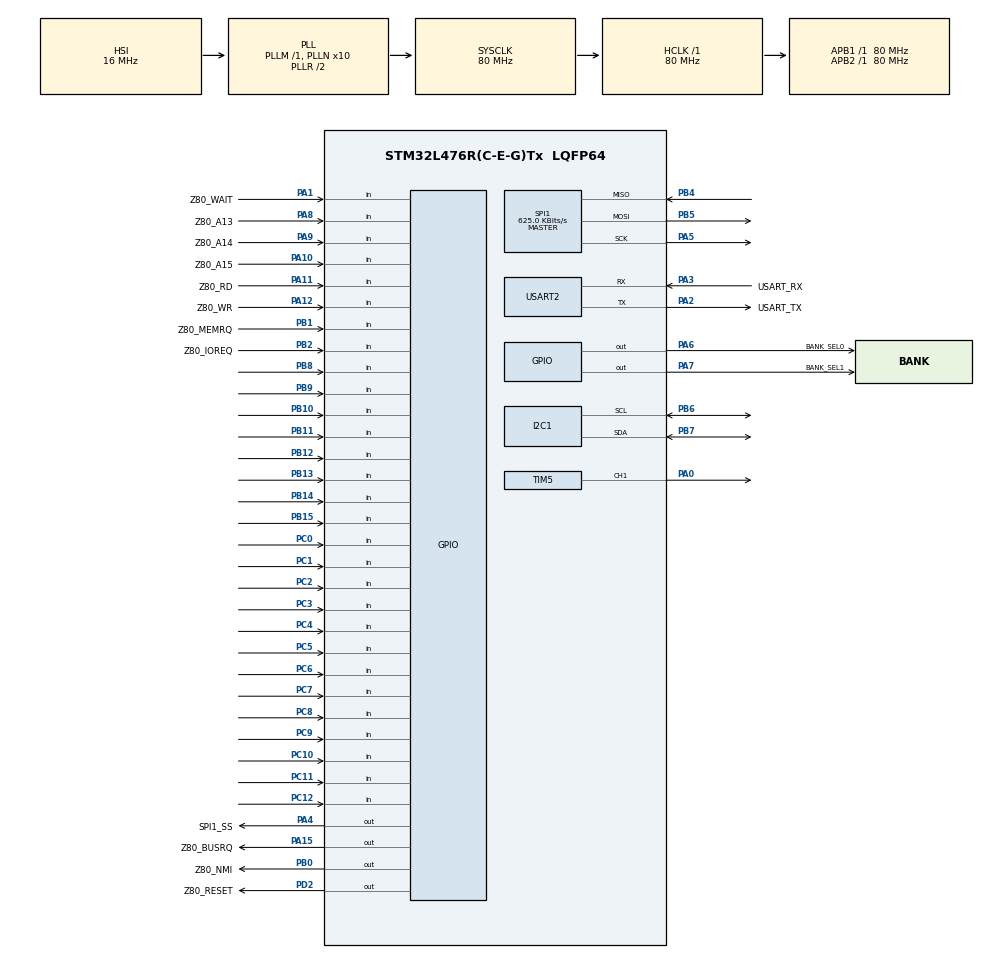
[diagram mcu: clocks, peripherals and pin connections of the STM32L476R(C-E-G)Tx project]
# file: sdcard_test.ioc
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I2C1.Timing=0x10909CEC
Mcu.Family=STM32L4
Mcu.Name=STM32L476R(C-E-G)Tx
Mcu.Package=LQFP64
NVIC.PriorityGroup=NVIC_PRIORITYGROUP_4
PA0.Signal=S_TIM5_CH1
PA1.GPIO_Label=Z80_WAIT
PA1.GPIO_PuPd=GPIO_PULLUP
PA1.Signal=GPIO_Input
PA10.GPIO_Label=Z80_A15
PA10.GPIO_PuPd=GPIO_NOPULL
PA10.Signal=GPIO_Input
PA11.GPIO_Label=Z80_RD
PA11.GPIO_PuPd=GPIO_PULLUP
PA11.Signal=GPIO_Input
PA12.GPIO_Label=Z80_WR
PA12.GPIO_PuPd=GPIO_PULLUP
PA12.Signal=GPIO_Input
PA13\ (JTMS-SWDIO).GPIO_Label=TMS
PA13\ (JTMS-SWDIO).Mode=Serial_Wire
PA13\ (JTMS-SWDIO).Signal=SYS_JTMS-SWDIO
PA14\ (JTCK-SWCLK).GPIO_Label=TCK
PA14\ (JTCK-SWCLK).Mode=Serial_Wire
PA14\ (JTCK-SWCLK).Signal=SYS_JTCK-SWCLK
PA15\ (JTDI).GPIO_Label=Z80_BUSRQ
PA15\ (JTDI).Signal=GPIO_Output
PA2.GPIO_Label=USART_TX
PA2.GPIO_Mode=GPIO_MODE_AF_PP
PA2.GPIO_PuPd=GPIO_NOPULL
PA2.GPIO_Speed=GPIO_SPEED_FREQ_VERY_HIGH
PA2.Mode=Asynchronous
PA2.Signal=USART2_TX
PA3.GPIO_Label=USART_RX
PA3.GPIO_Mode=GPIO_MODE_AF_PP
PA3.GPIO_PuPd=GPIO_NOPULL
PA3.GPIO_Speed=GPIO_SPEED_FREQ_VERY_HIGH
PA3.Mode=Asynchronous
PA3.Signal=USART2_RX
PA4.GPIO_Label=SPI1_SS
PA4.PinState=GPIO_PIN_SET
PA4.Signal=GPIO_Output
PA5.Mode=Full_Duplex_Master
PA5.Signal=SPI1_SCK
PA6.GPIO_Label=BANK_SEL0
PA6.Signal=GPIO_Output
PA7.GPIO_Label=BANK_SEL1
PA7.Signal=GPIO_Output
PA8.GPIO_Label=Z80_A13
PA8.Signal=GPIO_Input
PA9.GPIO_Label=Z80_A14
PA9.Signal=GPIO_Input
PB0.GPIO_Label=Z80_NMI
PB0.Signal=GPIO_Output
PB1.GPIO_Label=Z80_MEMRQ
PB1.GPIO_PuPd=GPIO_PULLUP
PB1.Signal=GPIO_Input
PB10.Signal=GPIO_Input
PB11.Signal=GPIO_Input
PB12.Signal=GPIO_Input
PB13.Signal=GPIO_Input
PB14.Signal=GPIO_Input
PB15.Signal=GPIO_Input
PB2.GPIO_Label=Z80_IOREQ
PB2.GPIO_PuPd=GPIO_PULLUP
PB2.Signal=GPIO_Input
PB4\ (NJTRST).Mode=Full_Duplex_Master
PB4\ (NJTRST).Signal=SPI1_MISO
PB5.Mode=Full_Duplex_Master
PB5.Signal=SPI1_MOSI
PB6.Mode=I2C
PB6.Signal=I2C1_SCL
PB7.Mode=I2C
PB7.Signal=I2C1_SDA
PB8.Signal=GPIO_Input
PB9.Signal=GPIO_Input
PC0.Signal=GPIO_Input
PC1.Signal=GPIO_Input
PC10.Signal=GPIO_Input
PC11.Signal=GPIO_Input
PC12.Signal=GPIO_Input
PC2.Signal=GPIO_Input
PC3.Signal=GPIO_Input
PC4.Signal=GPIO_Input
PC5.Signal=GPIO_Input
PC6.Signal=GPIO_Input
PC7.Signal=GPIO_Input
PC8.Signal=GPIO_Input
PC9.Signal=GPIO_Input
PD2.GPIO_Label=Z80_RESET
PD2.Signal=GPIO_Output
PH0-OSC_IN\ (PH0).Signal=RCC_OSC_IN
PH1-OSC_OUT\ (PH1).Signal=RCC_OSC_OUT
ProjectManager.HeapSize=0x200
ProjectManager.StackSize=0x400
ProjectManager.TargetToolchain=STM32CubeIDE
RCC.ADCFreq_Value=64000000
RCC.AHBFreq_Value=80000000
RCC.APB1Freq_Value=80000000
RCC.APB1TimFreq_Value=80000000
RCC.APB2Freq_Value=80000000
RCC.APB2TimFreq_Value=80000000
RCC.CortexFreq_Value=80000000
RCC.HCLKFreq_Value=80000000
RCC.HSE_VALUE=8000000
RCC.HSI_VALUE=16000000
RCC.LSE_VALUE=32768
RCC.MSI_VALUE=4000000
RCC.PLLN=10
RCC.PLLSourceVirtual=RCC_PLLSOURCE_HSI
RCC.PREFETCH_ENABLE=1
RCC.SYSCLKFreq_VALUE=80000000
RCC.SYSCLKSource=RCC_SYSCLKSOURCE_PLLCLK
RCC.USBFreq_Value=64000000
RCC.VCOOutputFreq_Value=160000000
SH.S_TIM5_CH1.0=TIM5_CH1,PWM Generation1 CH1
SPI1.BaudRatePrescaler=SPI_BAUDRATEPRESCALER_128
SPI1.CalculateBaudRate=625.0 KBits/s
SPI1.DataSize=SPI_DATASIZE_8BIT
SPI1.Direction=SPI_DIRECTION_2LINES
SPI1.Mode=SPI_MODE_MASTER
SPI1.VirtualType=VM_MASTER
TIM1.Prescaler=10 - 1
TIM5.AutoReloadPreload=TIM_AUTORELOAD_PRELOAD_ENABLE
TIM5.Channel-PWM\ Generation1\ CH1=TIM_CHANNEL_1
TIM5.Period=1
TIM5.Prescaler=9
TIM5.Pulse-PWM\ Generation1\ CH1=1
USART2.VirtualMode-Asynchronous=VM_ASYNC
VP_FATFS_VS_Generic.Mode=User_defined
VP_TIM1_VS_ClockSourceINT.Mode=Internal
VP_TIM5_VS_ClockSourceINT.Mode=Internal
board=NUCLEO-L476RG

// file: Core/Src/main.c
/* USER CODE BEGIN Header */
/**
  ******************************************************************************
  * @file           : main.c
  * @brief          : Main program body
  ******************************************************************************
  * @attention
  *
  * Copyright (c) 2024 STMicroelectronics.
  * All rights reserved.
  *
  * This software is licensed under terms that can be found in the LICENSE file
  * in the root directory of this software component.
  * If no LICENSE file comes with this software, it is provided AS-IS.
  *
  ******************************************************************************
  */
/* USER CODE END Header */
#include "main.h"
#include "fatfs.h"

/* USER CODE BEGIN Includes */
#include <stdio.h>
#include <string.h>

/* USER CODE END Includes */

/* USER CODE BEGIN PD */
#define DS1307_ADDR (0x68 << 1)

/* USER CODE END PD */

I2C_HandleTypeDef hi2c1;

SPI_HandleTypeDef hspi1;

TIM_HandleTypeDef htim1;
TIM_HandleTypeDef htim5;

UART_HandleTypeDef huart2;

void SystemClock_Config(void);
static void MX_GPIO_Init(void);
static void MX_USART2_UART_Init(void);
static void MX_TIM5_Init(void);
static void MX_TIM1_Init(void);
static void MX_I2C1_Init(void);
static void MX_SPI1_Init(void);

int main(void)
{

  /* MCU Configuration--------------------------------------------------------*/

  /* Reset of all peripherals, Initializes the Flash interface and the Systick. */
  HAL_Init();

  /* Configure the system clock */
  SystemClock_Config();

  /* Initialize all configured peripherals */
  MX_GPIO_Init();
  MX_USART2_UART_Init();
  MX_TIM5_Init();
  MX_TIM1_Init();
  MX_I2C1_Init();
  MX_SPI1_Init();
  MX_FATFS_Init();
  /* USER CODE BEGIN 2 */
  HAL_TIM_Base_Start(&htim1);

  printf("\r\n~ SD card demo by kiwih ~\r\n\r\n");

  HAL_Delay(1000); //a short delay is important to let the SD card settle

  //some variables for FatFs
  FATFS FatFs;	//Fatfs handle
  FIL fil;		//File handle
  FRESULT fres; //Result after operations

  //Open the file system
  fres = f_mount(&FatFs, "", 1); //1=mount now
  if (fres != FR_OK) {
    printf("f_mount error (%i)\r\n", fres);
    while(1);
  }

  //Let's get some statistics from the SD card
  DWORD free_clusters, free_sectors, total_sectors;

  FATFS* getFreeFs;

  fres = f_getfree("", &free_clusters, &getFreeFs);
  if (fres != FR_OK) {
    printf("f_getfree error (%i)\r\n", fres);
    while(1);
  }

  //Formula comes from ChaN's documentation
  total_sectors = (getFreeFs->n_fatent - 2) * getFreeFs->csize;
  free_sectors = free_clusters * getFreeFs->csize;

  printf("SD card stats:\r\n%10lu KiB total drive space.\r\n%10lu KiB available.\r\n",
           total_sectors / 2, free_sectors / 2);

  //Now let's try to open file "test.txt"
  fres = f_open(&fil, "test.txt", FA_READ);
  if (fres != FR_OK) {
    printf("f_open error (%i)\r\n", fres);
    while(1);
  }
  printf("I was able to open 'test.txt' for reading!\r\n");

  //Read 30 bytes from "test.txt" on the SD card
  BYTE readBuf[30];

  //We can either use f_read OR f_gets to get data out of files
  //f_gets is a wrapper on f_read that does some string formatting for us
  TCHAR* rres = f_gets((TCHAR*)readBuf, 30, &fil);
  if(rres != 0) {
    printf("Read string from 'test.txt' contents: %s\r\n", readBuf);
  } else {
    printf("f_gets error (%i)\r\n", fres);
  }

  //Be a tidy kiwi - don't forget to close your file!
  f_close(&fil);

  //Now let's try and write a file "write.txt"
  fres = f_open(&fil, "write.txt", FA_WRITE | FA_OPEN_ALWAYS | FA_CREATE_ALWAYS);
  if(fres == FR_OK) {
    printf("I was able to open 'write.txt' for writing\r\n");
  } else {
    printf("f_open error (%i)\r\n", fres);
  }

  //Copy in a string
  memcpy((char*)readBuf, "a new file is made!", 19);
  UINT bytesWrote;
  fres = f_write(&fil, readBuf, 19, &bytesWrote);
  if(fres == FR_OK) {
    printf("Wrote %i bytes to 'write.txt'!\r\n", bytesWrote);
  } else {
    printf("f_write error (%i)\r\n", fres);
  }

  //Be a tidy kiwi - don't forget to close your file!
  f_close(&fil);

  //We're done, so de-mount the drive
  f_mount(NULL, "", 0);

  /* USER CODE END 2 */

  /* Infinite loop */
  while (1)
  {

  }
}

void SystemClock_Config(void)
{
  RCC_OscInitTypeDef RCC_OscInitStruct = {0};
  RCC_ClkInitTypeDef RCC_ClkInitStruct = {0};

  /** Configure the main internal regulator output voltage
  */
  if (HAL_PWREx_ControlVoltageScaling(PWR_REGULATOR_VOLTAGE_SCALE1) != HAL_OK)
  {
    Error_Handler();
  }

  /** Initializes the RCC Oscillators according to the specified parameters
  * in the RCC_OscInitTypeDef structure.
  */
  RCC_OscInitStruct.OscillatorType = RCC_OSCILLATORTYPE_HSI;
  RCC_OscInitStruct.HSIState = RCC_HSI_ON;
  RCC_OscInitStruct.HSICalibrationValue = RCC_HSICALIBRATION_DEFAULT;
  RCC_OscInitStruct.PLL.PLLState = RCC_PLL_ON;
  RCC_OscInitStruct.PLL.PLLSource = RCC_PLLSOURCE_HSI;
  RCC_OscInitStruct.PLL.PLLM = 1;
  RCC_OscInitStruct.PLL.PLLN = 10;
  RCC_OscInitStruct.PLL.PLLP = RCC_PLLP_DIV7;
  RCC_OscInitStruct.PLL.PLLQ = RCC_PLLQ_DIV2;
  RCC_OscInitStruct.PLL.PLLR = RCC_PLLR_DIV2;
  if (HAL_RCC_OscConfig(&RCC_OscInitStruct) != HAL_OK)
  {
    Error_Handler();
  }

  /** Initializes the CPU, AHB and APB buses clocks
  */
  RCC_ClkInitStruct.ClockType = RCC_CLOCKTYPE_HCLK|RCC_CLOCKTYPE_SYSCLK
                              |RCC_CLOCKTYPE_PCLK1|RCC_CLOCKTYPE_PCLK2;
  RCC_ClkInitStruct.SYSCLKSource = RCC_SYSCLKSOURCE_PLLCLK;
  RCC_ClkInitStruct.AHBCLKDivider = RCC_SYSCLK_DIV1;
  RCC_ClkInitStruct.APB1CLKDivider = RCC_HCLK_DIV1;
  RCC_ClkInitStruct.APB2CLKDivider = RCC_HCLK_DIV1;

  if (HAL_RCC_ClockConfig(&RCC_ClkInitStruct, FLASH_LATENCY_4) != HAL_OK)
  {
    Error_Handler();
  }
}

static void MX_I2C1_Init(void)
{

  hi2c1.Instance = I2C1;
  hi2c1.Init.Timing = 0x10909CEC;
  hi2c1.Init.OwnAddress1 = 0;
  hi2c1.Init.AddressingMode = I2C_ADDRESSINGMODE_7BIT;
  hi2c1.Init.DualAddressMode = I2C_DUALADDRESS_DISABLE;
  hi2c1.Init.OwnAddress2 = 0;
  hi2c1.Init.OwnAddress2Masks = I2C_OA2_NOMASK;
  hi2c1.Init.GeneralCallMode = I2C_GENERALCALL_DISABLE;
  hi2c1.Init.NoStretchMode = I2C_NOSTRETCH_DISABLE;
  if (HAL_I2C_Init(&hi2c1) != HAL_OK)
  {
    Error_Handler();
  }

  /** Configure Analogue filter
  */
  if (HAL_I2CEx_ConfigAnalogFilter(&hi2c1, I2C_ANALOGFILTER_ENABLE) != HAL_OK)
  {
    Error_Handler();
  }

  /** Configure Digital filter
  */
  if (HAL_I2CEx_ConfigDigitalFilter(&hi2c1, 0) != HAL_OK)
  {
    Error_Handler();
  }

}

static void MX_SPI1_Init(void)
{

  /* SPI1 parameter configuration*/
  hspi1.Instance = SPI1;
  hspi1.Init.Mode = SPI_MODE_MASTER;
  hspi1.Init.Direction = SPI_DIRECTION_2LINES;
  hspi1.Init.DataSize = SPI_DATASIZE_8BIT;
  hspi1.Init.CLKPolarity = SPI_POLARITY_LOW;
  hspi1.Init.CLKPhase = SPI_PHASE_1EDGE;
  hspi1.Init.NSS = SPI_NSS_SOFT;
  hspi1.Init.BaudRatePrescaler = SPI_BAUDRATEPRESCALER_128;
  hspi1.Init.FirstBit = SPI_FIRSTBIT_MSB;
  hspi1.Init.TIMode = SPI_TIMODE_DISABLE;
  hspi1.Init.CRCCalculation = SPI_CRCCALCULATION_DISABLE;
  hspi1.Init.CRCPolynomial = 7;
  hspi1.Init.CRCLength = SPI_CRC_LENGTH_DATASIZE;
  hspi1.Init.NSSPMode = SPI_NSS_PULSE_ENABLE;
  if (HAL_SPI_Init(&hspi1) != HAL_OK)
  {
    Error_Handler();
  }

}

static void MX_TIM1_Init(void)
{

  TIM_ClockConfigTypeDef sClockSourceConfig = {0};
  TIM_MasterConfigTypeDef sMasterConfig = {0};

  htim1.Instance = TIM1;
  htim1.Init.Prescaler = 10 - 1;
  htim1.Init.CounterMode = TIM_COUNTERMODE_UP;
  htim1.Init.Period = 65535;
  htim1.Init.ClockDivision = TIM_CLOCKDIVISION_DIV1;
  htim1.Init.RepetitionCounter = 0;
  htim1.Init.AutoReloadPreload = TIM_AUTORELOAD_PRELOAD_DISABLE;
  if (HAL_TIM_Base_Init(&htim1) != HAL_OK)
  {
    Error_Handler();
  }
  sClockSourceConfig.ClockSource = TIM_CLOCKSOURCE_INTERNAL;
  if (HAL_TIM_ConfigClockSource(&htim1, &sClockSourceConfig) != HAL_OK)
  {
    Error_Handler();
  }
  sMasterConfig.MasterOutputTrigger = TIM_TRGO_RESET;
  sMasterConfig.MasterOutputTrigger2 = TIM_TRGO2_RESET;
  sMasterConfig.MasterSlaveMode = TIM_MASTERSLAVEMODE_DISABLE;
  if (HAL_TIMEx_MasterConfigSynchronization(&htim1, &sMasterConfig) != HAL_OK)
  {
    Error_Handler();
  }

}

static void MX_TIM5_Init(void)
{

  TIM_ClockConfigTypeDef sClockSourceConfig = {0};
  TIM_MasterConfigTypeDef sMasterConfig = {0};
  TIM_OC_InitTypeDef sConfigOC = {0};

  htim5.Instance = TIM5;
  htim5.Init.Prescaler = 9;
  htim5.Init.CounterMode = TIM_COUNTERMODE_UP;
  htim5.Init.Period = 1;
  htim5.Init.ClockDivision = TIM_CLOCKDIVISION_DIV1;
  htim5.Init.AutoReloadPreload = TIM_AUTORELOAD_PRELOAD_ENABLE;
  if (HAL_TIM_Base_Init(&htim5) != HAL_OK)
  {
    Error_Handler();
  }
  sClockSourceConfig.ClockSource = TIM_CLOCKSOURCE_INTERNAL;
  if (HAL_TIM_ConfigClockSource(&htim5, &sClockSourceConfig) != HAL_OK)
  {
    Error_Handler();
  }
  if (HAL_TIM_PWM_Init(&htim5) != HAL_OK)
  {
    Error_Handler();
  }
  sMasterConfig.MasterOutputTrigger = TIM_TRGO_RESET;
  sMasterConfig.MasterSlaveMode = TIM_MASTERSLAVEMODE_DISABLE;
  if (HAL_TIMEx_MasterConfigSynchronization(&htim5, &sMasterConfig) != HAL_OK)
  {
    Error_Handler();
  }
  sConfigOC.OCMode = TIM_OCMODE_PWM1;
  sConfigOC.Pulse = 1;
  sConfigOC.OCPolarity = TIM_OCPOLARITY_HIGH;
  sConfigOC.OCFastMode = TIM_OCFAST_DISABLE;
  if (HAL_TIM_PWM_ConfigChannel(&htim5, &sConfigOC, TIM_CHANNEL_1) != HAL_OK)
  {
    Error_Handler();
  }
  HAL_TIM_MspPostInit(&htim5);

}

static void MX_USART2_UART_Init(void)
{

  huart2.Instance = USART2;
  huart2.Init.BaudRate = 115200;
  huart2.Init.WordLength = UART_WORDLENGTH_8B;
  huart2.Init.StopBits = UART_STOPBITS_1;
  huart2.Init.Parity = UART_PARITY_NONE;
  huart2.Init.Mode = UART_MODE_TX_RX;
  huart2.Init.HwFlowCtl = UART_HWCONTROL_NONE;
  huart2.Init.OverSampling = UART_OVERSAMPLING_16;
  huart2.Init.OneBitSampling = UART_ONE_BIT_SAMPLE_DISABLE;
  huart2.AdvancedInit.AdvFeatureInit = UART_ADVFEATURE_NO_INIT;
  if (HAL_UART_Init(&huart2) != HAL_OK)
  {
    Error_Handler();
  }

}

static void MX_GPIO_Init(void)
{
  GPIO_InitTypeDef GPIO_InitStruct = {0};

  /* GPIO Ports Clock Enable */
  __HAL_RCC_GPIOH_CLK_ENABLE();
  __HAL_RCC_GPIOC_CLK_ENABLE();
  __HAL_RCC_GPIOA_CLK_ENABLE();
  __HAL_RCC_GPIOB_CLK_ENABLE();
  __HAL_RCC_GPIOD_CLK_ENABLE();

  /*Configure GPIO pin Output Level */
  HAL_GPIO_WritePin(SPI1_SS_GPIO_Port, SPI1_SS_Pin, GPIO_PIN_SET);

  /*Configure GPIO pin Output Level */
  HAL_GPIO_WritePin(GPIOA, BANK_SEL0_Pin|BANK_SEL1_Pin|Z80_BUSRQ_Pin, GPIO_PIN_RESET);

  /*Configure GPIO pin Output Level */
  HAL_GPIO_WritePin(Z80_NMI_GPIO_Port, Z80_NMI_Pin, GPIO_PIN_RESET);

  /*Configure GPIO pin Output Level */
  HAL_GPIO_WritePin(Z80_RESET_GPIO_Port, Z80_RESET_Pin, GPIO_PIN_RESET);

  /*Configure GPIO pins : PC0 PC1 PC2 PC3
                           PC4 PC5 PC6 PC7
                           PC8 PC9 PC10 PC11
                           PC12 */
  GPIO_InitStruct.Pin = GPIO_PIN_0|GPIO_PIN_1|GPIO_PIN_2|GPIO_PIN_3
                          |GPIO_PIN_4|GPIO_PIN_5|GPIO_PIN_6|GPIO_PIN_7
                          |GPIO_PIN_8|GPIO_PIN_9|GPIO_PIN_10|GPIO_PIN_11
                          |GPIO_PIN_12;
  GPIO_InitStruct.Mode = GPIO_MODE_INPUT;
  GPIO_InitStruct.Pull = GPIO_NOPULL;
  HAL_GPIO_Init(GPIOC, &GPIO_InitStruct);

  /*Configure GPIO pins : Z80_WAIT_Pin Z80_RD_Pin Z80_WR_Pin */
  GPIO_InitStruct.Pin = Z80_WAIT_Pin|Z80_RD_Pin|Z80_WR_Pin;
  GPIO_InitStruct.Mode = GPIO_MODE_INPUT;
  GPIO_InitStruct.Pull = GPIO_PULLUP;
  HAL_GPIO_Init(GPIOA, &GPIO_InitStruct);

  /*Configure GPIO pins : SPI1_SS_Pin BANK_SEL0_Pin BANK_SEL1_Pin Z80_BUSRQ_Pin */
  GPIO_InitStruct.Pin = SPI1_SS_Pin|BANK_SEL0_Pin|BANK_SEL1_Pin|Z80_BUSRQ_Pin;
  GPIO_InitStruct.Mode = GPIO_MODE_OUTPUT_PP;
  GPIO_InitStruct.Pull = GPIO_NOPULL;
  GPIO_InitStruct.Speed = GPIO_SPEED_FREQ_LOW;
  HAL_GPIO_Init(GPIOA, &GPIO_InitStruct);

  /*Configure GPIO pin : Z80_NMI_Pin */
  GPIO_InitStruct.Pin = Z80_NMI_Pin;
  GPIO_InitStruct.Mode = GPIO_MODE_OUTPUT_PP;
  GPIO_InitStruct.Pull = GPIO_NOPULL;
  GPIO_InitStruct.Speed = GPIO_SPEED_FREQ_LOW;
  HAL_GPIO_Init(Z80_NMI_GPIO_Port, &GPIO_InitStruct);

  /*Configure GPIO pins : Z80_MEMRQ_Pin Z80_IOREQ_Pin */
  GPIO_InitStruct.Pin = Z80_MEMRQ_Pin|Z80_IOREQ_Pin;
  GPIO_InitStruct.Mode = GPIO_MODE_INPUT;
  GPIO_InitStruct.Pull = GPIO_PULLUP;
  HAL_GPIO_Init(GPIOB, &GPIO_InitStruct);

  /*Configure GPIO pins : PB10 PB11 PB12 PB13
                           PB14 PB15 PB8 PB9 */
  GPIO_InitStruct.Pin = GPIO_PIN_10|GPIO_PIN_11|GPIO_PIN_12|GPIO_PIN_13
                          |GPIO_PIN_14|GPIO_PIN_15|GPIO_PIN_8|GPIO_PIN_9;
  GPIO_InitStruct.Mode = GPIO_MODE_INPUT;
  GPIO_InitStruct.Pull = GPIO_NOPULL;
  HAL_GPIO_Init(GPIOB, &GPIO_InitStruct);

  /*Configure GPIO pins : Z80_A13_Pin Z80_A14_Pin Z80_A15_Pin */
  GPIO_InitStruct.Pin = Z80_A13_Pin|Z80_A14_Pin|Z80_A15_Pin;
  GPIO_InitStruct.Mode = GPIO_MODE_INPUT;
  GPIO_InitStruct.Pull = GPIO_NOPULL;
  HAL_GPIO_Init(GPIOA, &GPIO_InitStruct);

  /*Configure GPIO pin : Z80_RESET_Pin */
  GPIO_InitStruct.Pin = Z80_RESET_Pin;
  GPIO_InitStruct.Mode = GPIO_MODE_OUTPUT_PP;
  GPIO_InitStruct.Pull = GPIO_NOPULL;
  GPIO_InitStruct.Speed = GPIO_SPEED_FREQ_LOW;
  HAL_GPIO_Init(Z80_RESET_GPIO_Port, &GPIO_InitStruct);

}

/* USER CODE BEGIN 4 */

/**
  * @brief  Retargets the C library printf function to the USART.
  * @param  None
  * @retval None
  */
#ifdef __GNUC__
/* With GCC/RAISONANCE, small printf (option LD Linker->Libraries->Small printf
   set to 'Yes') calls __io_putchar() */
int __io_putchar(int ch)
#else
int fputc(int ch, FILE *f)
#endif /* __GNUC__ */
{
  /* Place your implementation of fputc here */
  /* e.g. write a character to the USART1 and Loop until the end of transmission */
  HAL_UART_Transmit(&huart2, (uint8_t *)&ch, 1, 0xFFFF);

  return ch;
}

#ifdef __GNUC__
int __io_getchar(void)
#else
int fgetc(FILE *f)
#endif
{
  uint8_t ch = 0;
  HAL_StatusTypeDef stat;
  do {
    __HAL_UART_CLEAR_OREFLAG(&huart2);
    stat = HAL_UART_Receive(&huart2, (uint8_t *)&ch, 1, /* Timeout */ 0);
  } while (ch == 0 || stat != HAL_OK);
  return ch;
}

int input_key_available(void)
{
    return __HAL_UART_GET_FLAG(&huart2, UART_FLAG_RXNE);
}

void delay_us (uint16_t us)
{
  __HAL_TIM_SET_COUNTER(&htim1,0);  // set the counter value a 0
  while (__HAL_TIM_GET_COUNTER(&htim1) < us * 8 + 1);  // wait for the counter to reach the us input in the parameter
}

/* USER CODE END 4 */

void Error_Handler(void)
{
  __disable_irq();
  while (1)
  {
  }
}
